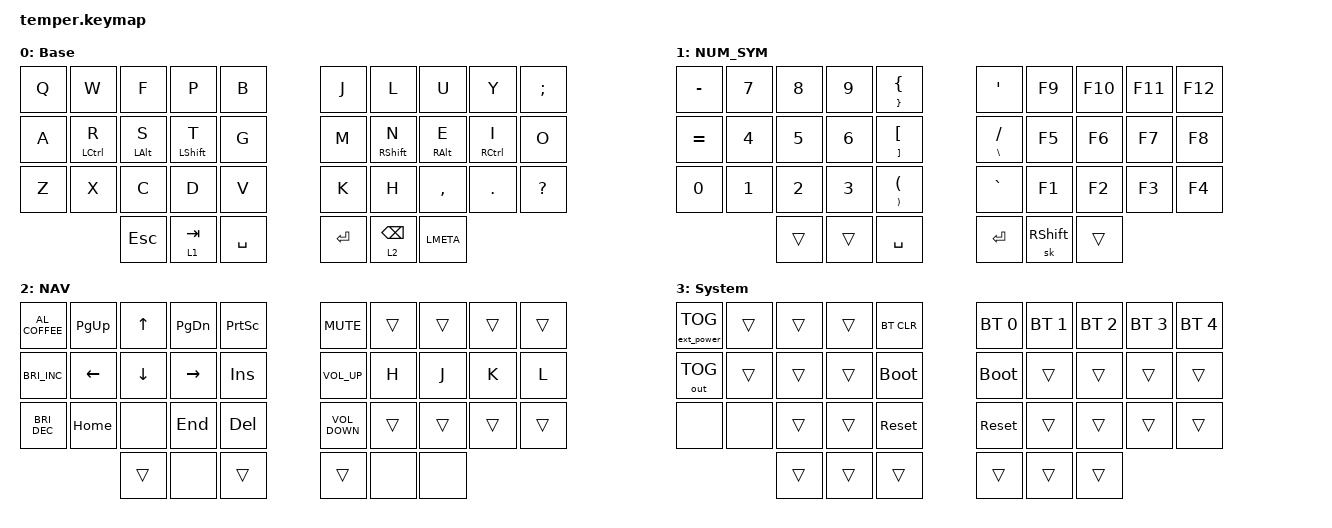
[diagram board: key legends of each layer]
/*
 * Copyright (c) 2020 duckyb
 *
 * SPDX-License-Identifier: MIT
 */

#include <dt-bindings/zmk/mouse.h>
#include <behaviors.dtsi>
#include <dt-bindings/zmk/bt.h>
#include <dt-bindings/zmk/ext_power.h>
#include <dt-bindings/zmk/keys.h>
#include <dt-bindings/zmk/outputs.h>

#define Base 0
#define NAV_NUM 1
#define SYM 2
#define FUN 3

&sk { quick-release; };

&lt {
    flavor = "hold-preferred";
    quick-tap-ms = <180>;
};

/ {
    behaviors {
        hm: hm {
            compatible = "zmk,behavior-hold-tap";
            label = "HM";
            bindings = <&kp>, <&kp>;

            #binding-cells = <2>;
            quick-tap-ms = <170>;
            tapping-term-ms = <190>;
            global-quick-tap;
            flavor = "tap-preferred";
        };

        hml: hml {
            compatible = "zmk,behavior-hold-tap";
            label = "HML";
            bindings = <&kp>, <&kp>;

            #binding-cells = <2>;
            tapping-term-ms = <280>;
            quick-tap-ms = <175>;
            require-prior-idle-ms = <150>;
            flavor = "balanced";
            hold-trigger-on-release;
            hold-trigger-key-positions = <0 1 2 3 4 20 21 22 23 24 14 30 31 32 33 34 35 25 15 5 6 16 26 27 17 7 8 18 28 29 19 9>;
        };

        hmr: hmr {
            compatible = "zmk,behavior-hold-tap";
            label = "HMR";
            bindings = <&kp>, <&kp>;

            #binding-cells = <2>;
            tapping-term-ms = <280>;
            quick-tap-ms = <175>;
            require-prior-idle-ms = <150>;
            flavor = "balanced";
            hold-trigger-on-release;
            hold-trigger-key-positions = <0 10 20 21 1 11 12 2 3 4 24 14 13 23 22 30 31 32 33 34 35 25 26 28 27 29 9 8 7 6 5 15>;
        };

        mo_tog: mo_tog {
            compatible = "zmk,behavior-hold-tap";
            label = "MO_TOG";
            bindings = <&mo>, <&tog>;

            #binding-cells = <2>;
            tapping-term-ms = <200>;
            quick-tap-ms = <180>;
        };

        sl_tap: sl_tap {
            compatible = "zmk,behavior-hold-tap";
            label = "SL_TAP";
            bindings = <&mo>, <&kp>;

            #binding-cells = <2>;
            tapping-term-ms = <180>;
        };
    };

    combos {
        compatible = "zmk,combos";

        sys_layer {
            bindings = <&mo 3>;
            key-positions = <30 31>;
        };
    };

    keymap {
        compatible = "zmk,keymap";

        base {
            label = "Base";
            display-name = "Base";
            bindings = <
  &kp Q  &kp W         &kp F            &kp P          &kp B        &kp J       &kp L                &kp U             &kp Y         &kp SEMI
  &kp A  &hml LCTRL R  &hml LEFT_ALT S  &hml LSHFT T   &kp G        &kp M       &hmr RSHFT N         &hmr RIGHT_ALT E  &hmr RCTRL I  &kp O
  &kp Z  &kp X         &kp C            &kp D          &kp V        &kp K       &kp H                &kp COMMA         &kp DOT       &kp QUESTION
                       &kp ESCAPE       &sl_tap 1 TAB  &kp SPACE    &kp RETURN  &sl_tap 2 BACKSPACE  &kp LMETA
            >;
        };

        num_sym {
            display-name = "NUM_SYM";
            label = "NUM_SYM";
            bindings = <
  &kp MINUS     &kp NUMBER_7  &kp NUMBER_8  &kp NUMBER_9  &mt RIGHT_BRACE LEFT_BRACE                &kp SINGLE_QUOTE     &kp F9           &kp F10  &kp F11  &kp F12
  &kp EQUAL     &kp NUMBER_4  &kp NUMBER_5  &kp NUMBER_6  &mt RIGHT_BRACKET LEFT_BRACKET            &mt BACKSLASH SLASH  &kp F5           &kp F6   &kp F7   &kp F8
  &kp NUMBER_0  &kp NUMBER_1  &kp NUMBER_2  &kp NUMBER_3  &mt RIGHT_PARENTHESIS LEFT_PARENTHESIS    &kp GRAVE            &kp F1           &kp F2   &kp F3   &kp F4
                              &trans        &trans        &kp SPACE                                 &kp RETURN           &sk RIGHT_SHIFT  &trans
            >;
        };

        nav {
            display-name = "NAV";
            label = "NAV";
            bindings = <
  &kp C_AL_COFFEE       &kp PAGE_UP  &kp UP_ARROW  &kp PAGE_DOWN  &kp PRINTSCREEN    &kp C_MUTE         &trans  &trans  &trans  &trans
  &kp C_BRIGHTNESS_INC  &kp LEFT     &kp DOWN      &kp RIGHT      &kp INSERT         &kp C_VOLUME_UP    &kp H   &kp J   &kp K   &kp L
  &kp C_BRIGHTNESS_DEC  &kp HOME     &none         &kp END        &kp DELETE         &kp C_VOLUME_DOWN  &trans  &trans  &trans  &trans
                                     &trans        &none          &trans             &trans             &none   &none
            >;
        };

        System {
            bindings = <
  &ext_power EP_TOG  &trans  &trans  &trans  &bt BT_CLR     &bt BT_SEL 0  &bt BT_SEL 1  &bt BT_SEL 2  &bt BT_SEL 3  &bt BT_SEL 4
  &out OUT_TOG       &trans  &trans  &trans  &bootloader    &bootloader   &trans        &trans        &trans        &trans
  &none              &none   &trans  &trans  &sys_reset     &sys_reset    &trans        &trans        &trans        &trans
                             &trans  &trans  &trans         &trans        &trans        &trans
            >;

            label = "System";
        };
    };
};
